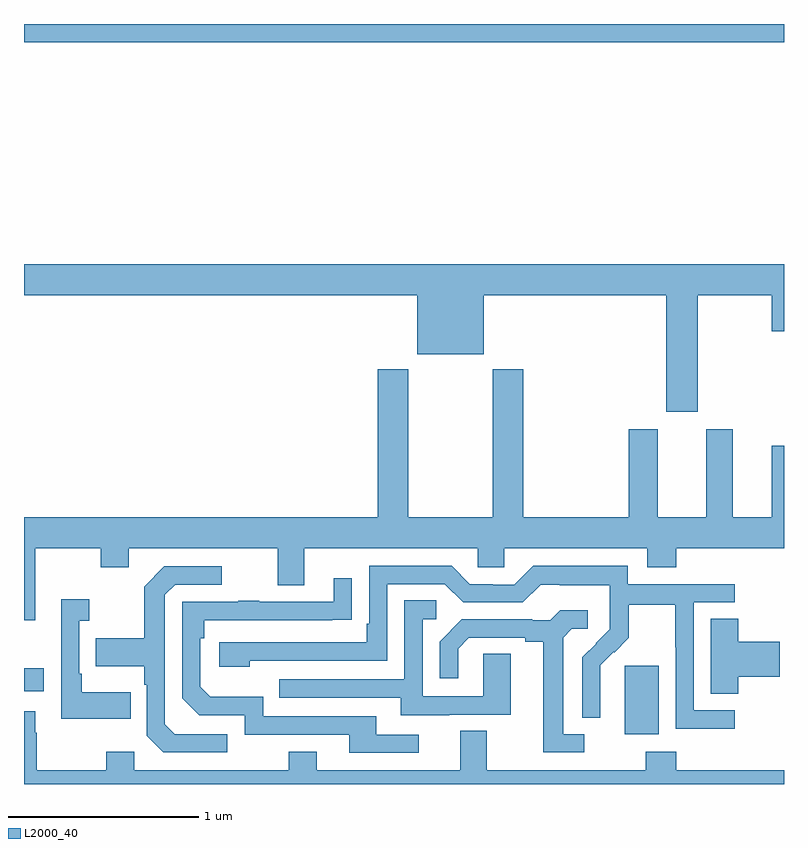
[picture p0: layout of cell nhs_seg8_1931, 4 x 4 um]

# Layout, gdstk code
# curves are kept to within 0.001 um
import gdstk
lib = gdstk.Library(unit=1e-6, precision=1e-09)
def R(c, l, rs):  # rectangles x0, y0, x1, y1
    for r in rs: c.add(gdstk.rectangle(r[:2], r[2:], *l))
def P(c, l, *ps):  # polygons
    for p in ps: c.add(gdstk.Polygon(p, *l))
L2000_40 = (2000, 40)

nhs_seg8_1931 = lib.new_cell('nhs_seg8_1931')
R(nhs_seg8_1931, L2000_40, [(236.162,1142.162,236.341,1142.523), (233,1142.387,233.104,1142.509), (233,1145.804,237,1145.9)])
P(nhs_seg8_1931, L2000_40, [(236.545,1144.472),(236.936,1144.472),(236.936,1144.284),(237,1144.284),(237,1144.636),(233,1144.636),(233,1144.472),(235.07,1144.472),(235.07,1144.163),(235.42,1144.163),(235.42,1144.472),(236.381,1144.472),(236.381,1143.858),(236.545,1143.858)],
  [(236.432,1143.14),(237,1143.14),(237,1143.679),(236.936,1143.679),(236.936,1143.304),(236.731,1143.304),(236.731,1143.766),(236.591,1143.766),(236.591,1143.304),(236.335,1143.304),(236.335,1143.766),(236.183,1143.766),(236.183,1143.304),(235.628,1143.304),(235.628,1144.084),(235.468,1144.084),(235.468,1143.304),(235.023,1143.304),(235.023,1144.084),(234.863,1144.084),(234.863,1143.304),(233,1143.304),(233,1142.763),(233.059,1142.763),(233.059,1143.14),(233.404,1143.14),(233.404,1143.041),(233.551,1143.041),(233.551,1143.14),(234.335,1143.14),(234.335,1142.946),(234.475,1142.946),(234.475,1143.14),(235.389,1143.14),(235.389,1143.042),(235.527,1143.042),(235.527,1143.14),(236.279,1143.14),(236.279,1143.041),(236.432,1143.041)],
  [(236.74,1142.289),(236.526,1142.289),(236.526,1142.856),(236.74,1142.856),(236.74,1142.952),(236.178,1142.952),(236.178,1143.049),(235.681,1143.049),(235.581,1142.949),(235.466,1142.949),(235.466,1142.952),(235.347,1142.952),(235.251,1143.048),(234.816,1143.048),(234.816,1142.743),(234.803,1142.743),(234.803,1142.646),(234.027,1142.646),(234.027,1142.516),(234.188,1142.516),(234.188,1142.55),(234.912,1142.55),(234.912,1142.952),(235.215,1142.952),(235.311,1142.856),(235.626,1142.856),(235.719,1142.949),(235.819,1142.949),(235.819,1142.945),(236.082,1142.945),(236.082,1142.811),(236.084,1142.811),(236.084,1142.714),(235.938,1142.566),(235.938,1142.248),(236.034,1142.248),(236.033,1142.525),(236.103,1142.595),(236.106,1142.592),(236.183,1142.669),(236.183,1142.844),(236.428,1142.844),(236.428,1142.62),(236.43,1142.62),(236.43,1142.191),(236.74,1142.191)],
  [(234.07,1142.163),(233.793,1142.163),(233.742,1142.214),(233.742,1142.895),(233.796,1142.949),(234.04,1142.949),(234.04,1143.045),(233.739,1143.045),(233.634,1142.939),(233.634,1142.667),(233.377,1142.667),(233.377,1142.519),(233.634,1142.519),(233.634,1142.423),(233.646,1142.423),(233.646,1142.154),(233.733,1142.067),(234.07,1142.067)],
  [(235.078,1142.16),(234.853,1142.16),(234.853,1142.256),(234.258,1142.256),(234.258,1142.359),(233.981,1142.359),(233.928,1142.412),(233.928,1142.666),(233.948,1142.666),(233.948,1142.763),(234.725,1142.764),(234.725,1142.983),(234.629,1142.983),(234.629,1142.859),(234.239,1142.859),(234.239,1142.864),(234.127,1142.864),(234.127,1142.859),(233.832,1142.859),(233.832,1142.352),(233.922,1142.262),(234.162,1142.262),(234.162,1142.16),(234.713,1142.16),(234.713,1142.064),(235.078,1142.064)],
  [(233.561,1142.383),(233.305,1142.383),(233.305,1142.479),(233.292,1142.479),(233.292,1142.759),(233.344,1142.759),(233.344,1142.872),(233.195,1142.872),(233.195,1142.605),(233.196,1142.605),(233.196,1142.243),(233.561,1142.243)],
  [(235.237,1142.265),(235.561,1142.265),(235.561,1142.585),(235.416,1142.585),(235.416,1142.361),(235.098,1142.361),(235.098,1142.766),(235.171,1142.766),(235.171,1142.867),(235.002,1142.867),(235.002,1142.451),(234.343,1142.451),(234.343,1142.355),(234.983,1142.355),(234.983,1142.261),(235.237,1142.261)],
  [(235.948,1142.163),(235.837,1142.163),(235.837,1142.671),(235.884,1142.718),(235.966,1142.718),(235.966,1142.815),(235.822,1142.815),(235.77,1142.763),(235.676,1142.763),(235.676,1142.766),(235.304,1142.766),(235.188,1142.65),(235.188,1142.457),(235.285,1142.457),(235.285,1142.613),(235.342,1142.67),(235.637,1142.67),(235.637,1142.648),(235.733,1142.648),(235.733,1142.067),(235.948,1142.067)],
  [(236.759,1142.465),(236.977,1142.465),(236.977,1142.648),(236.759,1142.648),(236.759,1142.771),(236.615,1142.771),(236.615,1142.374),(236.759,1142.374)],
  [(237,1141.972),(236.432,1141.972),(236.432,1142.071),(236.272,1142.071),(236.272,1141.972),(235.435,1141.972),(235.435,1142.18),(235.295,1142.18),(235.295,1141.972),(234.541,1141.972),(234.541,1142.071),(234.394,1142.071),(234.394,1141.972),(233.58,1141.972),(233.58,1142.071),(233.434,1142.071),(233.434,1141.972),(233.067,1141.972),(233.067,1142.171),(233.059,1142.171),(233.059,1142.284),(233,1142.284),(233,1141.9),(237,1141.9)])

lib.write_gds('nhs_seg8_1931.gds')
